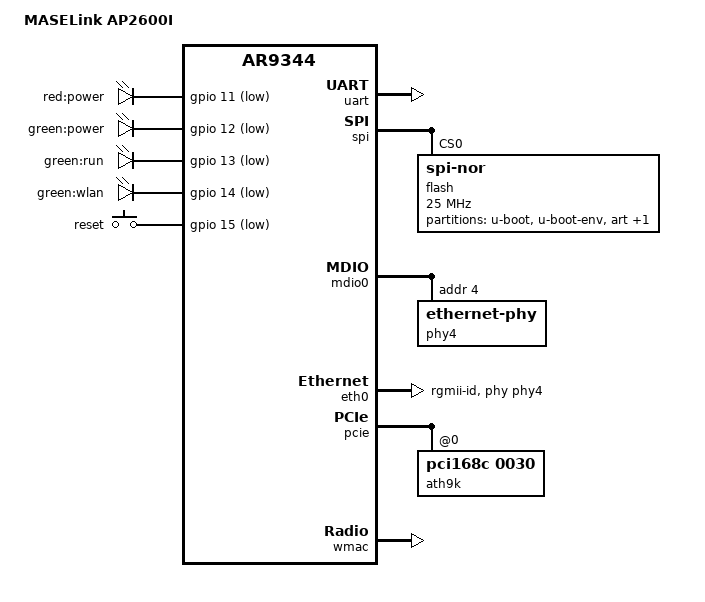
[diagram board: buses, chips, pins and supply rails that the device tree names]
// SPDX-License-Identifier: GPL-2.0-or-later OR MIT
/dts-v1/;

#include <dt-bindings/gpio/gpio.h>
#include <dt-bindings/input/input.h>

#include "ar9344.dtsi"

/ {
	compatible = "maselink,ap2600i", "qca,ar9344";
	model = "MASELink AP2600I";

	aliases {
		led-boot = &led_pgreen;
		led-failsafe = &led_pred;
		led-running = &led_pgreen;
		led-upgrade = &led_pgreen;
	};

	leds {
		compatible = "gpio-leds";

		led_pred: power1 {
			label = "red:power";
			gpios = <&gpio 11 GPIO_ACTIVE_LOW>;
		};

		led_pgreen: power2 {
			label = "green:power";
			gpios = <&gpio 12 GPIO_ACTIVE_LOW>;
		};

		run {
			label = "green:run";
			gpios = <&gpio 13 GPIO_ACTIVE_LOW>;
		};

		wlan {
			label = "green:wlan";
			gpios = <&gpio 14 GPIO_ACTIVE_LOW>;
			linux,default-trigger = "phy0tpt";
		};

	};

	keys {
		compatible = "gpio-keys-polled";
		poll-interval = <20>;

		reset {
			label = "reset";
			linux,code = <KEY_RESTART>;
			gpios = <&gpio 15 GPIO_ACTIVE_LOW>;
			debounce-interval = <60>;
		};
	};
};

&ref {
	clock-frequency = <40000000>;
};

&uart {
	status = "okay";
};

&spi {
	status = "okay";

	flash@0 {
		compatible = "jedec,spi-nor";
		reg = <0>;
		spi-max-frequency = <25000000>;
		m25p,fast-read;
		
		partitions {
			compatible = "fixed-partitions";
			#address-cells = <1>;
			#size-cells = <1>;

			partition@0 {
				label = "u-boot";
				reg = <0x000000 0x040000>;
				read-only;
			};

			partition@40000 {
				label = "u-boot-env";
				reg = <0x040000 0x010000>;
			};
			
			art: partition@50000 {
				label = "art";
				reg = <0x050000 0x010000>;
				read-only;
			};
			
			partition@60000 {
				compatible = "denx,uimage";
				label = "firmware";
				reg = <0x060000 0x1fa0000>;
			};
		};
	};
};

&mdio0 {
	status = "okay";

	phy4: ethernet-phy@0 {
		reg = <4>;
		eee-broken-100tx;
		eee-broken-1000t;
	};
};

&eth0 {
	status = "okay";

	pll-data = <0x0e000000 0x00000101 0x00001313>;

	mtd-mac-address = <&art 0x0>;

	phy-mode = "rgmii-id";
	phy-handle = <&phy4>;

	gmac-config {
		device = <&gmac>;
		rgmii-gmac0 = <1>;
		rxd-delay = <3>;
		rxdv-delay = <3>;
	};
};

&pcie {
	status = "okay";

	ath9k: wifi@0,0,0 {
		compatible = "pci168c,0030";
		reg = <0x0 0 0 0 0>;
		qca,no-eeprom;
		qca,disable-5ghz;
		mtd-mac-address = <&art 0x5000>;
		mtd-mac-address-increment = <(-2)>;
		#gpio-cells = <2>;
		gpio-controller;
	};
};

&wmac {
	status = "okay";

	qca,disable-5ghz;

	mtd-cal-data = <&art 0x1000>;
	mtd-mac-address = <&art 0x0>;
	mtd-mac-address-increment = <(-1)>;
};

